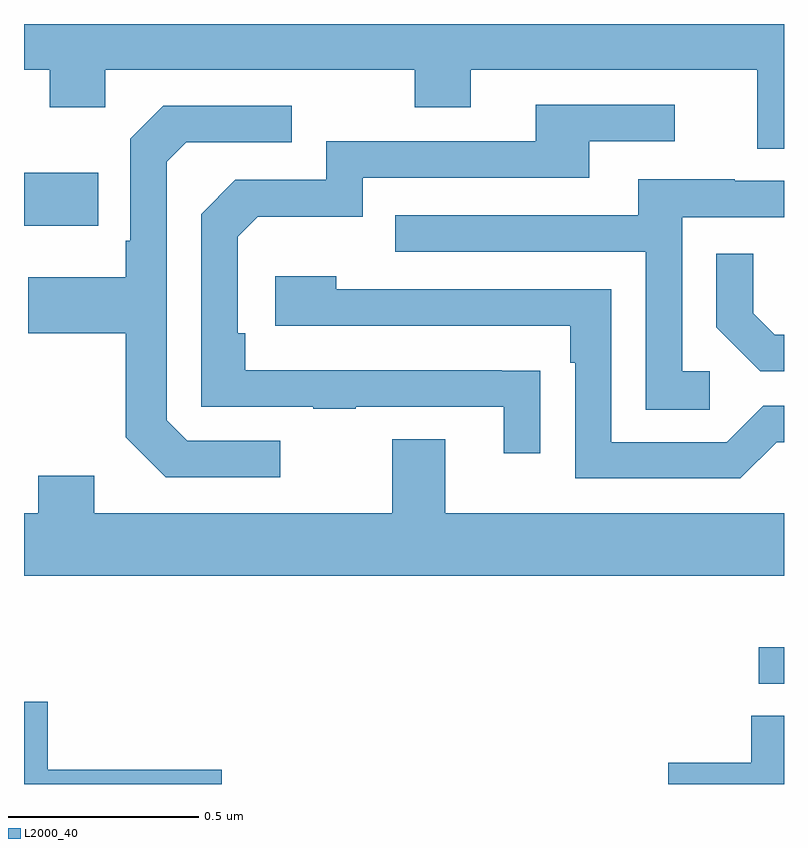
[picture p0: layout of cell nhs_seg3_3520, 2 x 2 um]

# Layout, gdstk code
import gdstk
lib = gdstk.Library(unit=1e-6, precision=1e-09)
def R(c, l, rs):  # rectangles x0, y0, x1, y1
    for r in rs: c.add(gdstk.rectangle(r[:2], r[2:], *l))
def P(c, l, *ps):  # polygons
    for p in ps: c.add(gdstk.Polygon(p, *l))
L2000_40 = (2000, 40)

nhs_seg3_3520 = lib.new_cell('nhs_seg3_3520')
R(nhs_seg3_3520, L2000_40, [(156.933,668.664,157,668.76), (155,669.869,155.195,670.009)])
P(nhs_seg3_3520, L2000_40, [(157,670.4),(155,670.4),(155,670.28),(155.068,670.28),(155.068,670.181),(155.214,670.181),(155.214,670.28),(156.028,670.28),(156.028,670.181),(156.175,670.181),(156.175,670.28),(156.929,670.28),(156.929,670.072),(157,670.072)],
  [(156.359,669.488),(156.257,669.488),(156.257,669.489),(155.582,669.489),(155.582,669.586),(155.562,669.586),(155.562,669.84),(155.615,669.893),(155.892,669.893),(155.892,669.996),(156.487,669.996),(156.487,670.092),(156.712,670.092),(156.712,670.188),(156.347,670.188),(156.347,670.092),(155.796,670.092),(155.796,669.99),(155.556,669.99),(155.466,669.9),(155.466,669.393),(155.761,669.393),(155.761,669.388),(155.873,669.388),(155.873,669.393),(156.263,669.393),(156.263,669.27),(156.359,669.27)],
  [(155.674,669.303),(155.43,669.303),(155.376,669.357),(155.376,670.038),(155.427,670.089),(155.704,670.089),(155.704,670.185),(155.367,670.185),(155.28,670.098),(155.28,669.829),(155.268,669.829),(155.268,669.733),(155.011,669.733),(155.011,669.586),(155.268,669.586),(155.268,669.313),(155.373,669.207),(155.674,669.207)],
  [(156.805,669.486),(156.732,669.486),(156.732,669.891),(157,669.891),(157,669.987),(156.871,669.987),(156.871,669.991),(156.617,669.991),(156.617,669.897),(155.977,669.897),(155.977,669.801),(156.636,669.801),(156.636,669.385),(156.805,669.385)],
  [(157,669.582),(156.976,669.582),(156.919,669.639),(156.919,669.796),(156.822,669.796),(156.822,669.602),(156.938,669.486),(157,669.486)],
  [(156.981,669.3),(157,669.3),(157,669.396),(156.945,669.396),(156.849,669.3),(156.546,669.3),(156.546,669.702),(155.822,669.702),(155.822,669.736),(155.661,669.736),(155.661,669.606),(156.437,669.606),(156.437,669.509),(156.45,669.509),(156.45,669.204),(156.885,669.204)],
  [(157,669.112),(156.109,669.112),(156.109,669.307),(155.969,669.307),(155.969,669.112),(155.185,669.112),(155.185,669.211),(155.038,669.211),(155.038,669.112),(155,669.112),(155,668.948),(157,668.948)],
  [(155.521,668.438),(155.063,668.438),(155.063,668.617),(155,668.617),(155,668.4),(155.521,668.4)],
  [(157,668.579),(156.914,668.579),(156.914,668.456),(156.696,668.456),(156.696,668.4),(157,668.4)])

lib.write_gds('nhs_seg3_3520.gds')
